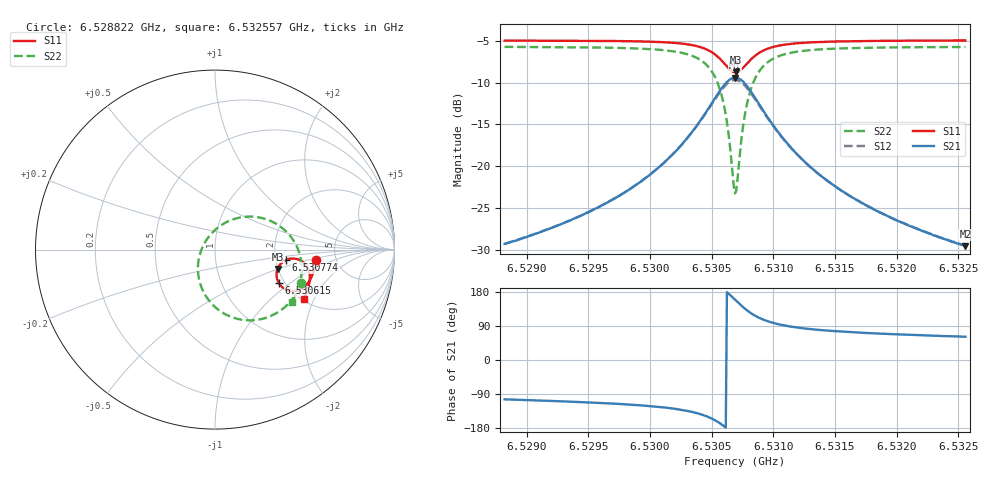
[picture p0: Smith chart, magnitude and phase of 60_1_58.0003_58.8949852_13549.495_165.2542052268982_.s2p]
#  HZ  S  RI  R  50.00
! Rohde & Schwarz Vector Network Analyzer
! Rohde-Schwarz,ZNB20-2Port,1311601062101988,3.16
! Created: UTC 3/21/2024, 12:52:56 AM
! freq[Hz]  re:S11  im:S11  re:S21  im:S21  re:S12  im:S12  re:S22  im:S22
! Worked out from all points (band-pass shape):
!   401 points, 6.528822 GHz to 6.532557 GHz, reference 50 ohm
!   highest |S21| = -9.40 dB at 6.53069 GHz (marker M1); lowest = -29.6 dB at 6.532557 GHz (marker M2)
!   |S21| within 3 dB of the highest: 6.530504 GHz to 6.530878 GHz (373.6 kHz wide, 0.00572 % of centre)
!   lowest |S11| = -8.8 dB at 6.530699 GHz (marker M3), VSWR 2.15, Z = 99.4 - j24.7 ohm
!   |S11| at or under -10 dB: nowhere
!   |S22| runs from -23.2 to -5.7 dB; largest |S21 - S12| = 0.015
!   S11 on the Smith chart (normalised r, x): 6.528822 GHz: 3.48, -0.59; 6.530615 GHz: 1.86, -0.83; 6.530774 GHz: 2.29, -0.31; 6.532557 GHz: 2.05, -1.66
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6.5288224e9  0.5608 -0.0579  -0.00818 -0.0334  -0.00898 -0.0332  0.4817 -0.1888
6.529448e9  0.5512 -0.112  -0.0185 -0.0476  -0.0196 -0.0471  0.4489 -0.2509
6.5297748e9  0.5412 -0.1439  -0.0305 -0.0612  -0.032 -0.0604  0.4175 -0.2922
6.5300736e9  0.5237 -0.1789  -0.055 -0.0819  -0.0574 -0.0803  0.3618 -0.3419
6.5302977e9  0.4938 -0.211  -0.1011 -0.1051  -0.1046 -0.1014  0.2683 -0.3848
6.5304564e9  0.4447 -0.2303  -0.1795 -0.1116  -0.1821 -0.1036  0.1247 -0.3858
6.5305498e9  0.3942 -0.2216  -0.2587 -0.0784  -0.2573 -0.0669  -0.00615 -0.314
6.5305871e9  0.3712 -0.2059  -0.2928 -0.0443  -0.2879 -0.0323  -0.0567 -0.2494
6.5306151e9  0.3562 -0.1875  -0.3139 -0.00805  -0.3059 0.00326  -0.0842 -0.1844
6.5306432e9  0.3457 -0.1636  -0.3261 0.0368  -0.3154 0.0462  -0.0954 -0.1078
6.5306712e9  0.3427 -0.1359  -0.3256 0.0866  -0.3131 0.0931  -0.0842 -0.0259
6.5306898e9  0.3457 -0.117  -0.3169 0.1201  -0.3037 0.124  -0.0636 0.0265
6.5306992e9  0.3484 -0.1079  -0.3101 0.1358  -0.297 0.1387  -0.0495 0.0512
6.5307459e9  0.3755 -0.0703  -0.2569 0.1995  -0.246 0.1974  0.0497 0.1454
6.5307739e9  0.3972 -0.057  -0.217 0.2214  -0.2082 0.2178  0.1195 0.1742
6.5308392e9  0.4464 -0.0506  -0.1305 0.2316  -0.1262 0.2274  0.2655 0.1748
6.5309326e9  0.492 -0.0709  -0.0532 0.2005  -0.0513 0.1981  0.3916 0.1056
6.5310727e9  0.5198 -0.1086  -0.0058 0.1488  -0.00455 0.148  0.463 0.000734
6.5313154e9  0.5289 -0.1552  0.015 0.096  0.0161 0.0954  0.4836 -0.1098
6.5316049e9  0.5249 -0.1926  0.0186 0.065  0.0198 0.0647  0.4745 -0.1808
6.531941e9  0.5154 -0.2257  0.0182 0.0464  0.019 0.046  0.458 -0.2316
6.5325573e9  0.4939 -0.275  0.016 0.0292  0.0166 0.0291  0.4262 -0.2921
